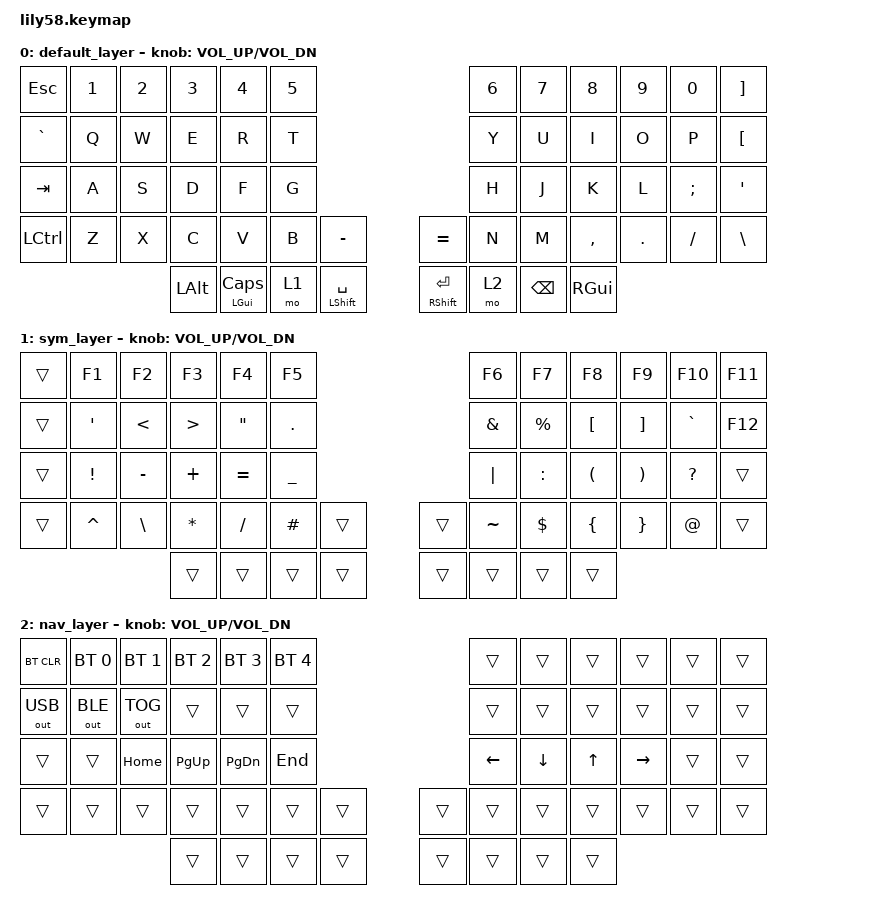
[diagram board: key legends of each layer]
/*
 * Copyright (c) 2020 The ZMK Contributors
 *
 * SPDX-License-Identifier: MIT
 */

#include <behaviors.dtsi>
#include <dt-bindings/zmk/keys.h>
#include <dt-bindings/zmk/bt.h>
#include <dt-bindings/zmk/ext_power.h>
#include <dt-bindings/zmk/outputs.h>


/ {
    keymap {
        compatible = "zmk,keymap";

        default_layer {
/* QWERTY
 * ,-----------------------------------------.                    ,-----------------------------------------.
 * | ESC  |   1  |   2  |   3  |   4  |   5  |                    |   6  |   7  |   8  |   9  |   0  |  ]   |
 * |------+------+------+------+------+------|                    |------+------+------+------+------+------|
 * |   `  |   Q  |   W  |   E  |   R  |   T  |                    |   Y  |   U  |   I  |   O  |   P  |  [   |
 * |------+------+------+------+------+------|                    |------+------+------+------+------+------|
 * |  Tab |   A  |   S  |   D  |   F  |   G  |-------.    ,-------|   H  |   J  |   K  |   L  |   ;  |  '   |
 * |------+------+------+------+------+------|  - _  |    |  = +  |------+------+------+------+------+------|
 * |LCTRL |   Z  |   X  |   C  |   V  |   B  |-------|    |-------|   N  |   M  |   ,  |   .  |   /  |  \   |
 * `-----------------------------------------/       /     \      \-----------------------------------------'
 *                   | LAlt | LGUI | L1   | /Space  /       \Enter \  | L2    |BackSP| RGUI |
 *                   |      | CAPS | (SYM)|/LShift /         \RShift\ | (NAV) |      |      |
 *                   `----------------------------'           '------''--------------------'
 */

            bindings = <
&kp ESC   &kp N1 &kp N2 &kp N3   &kp N4        &kp N5                 /**/                &kp N6 &kp N7   &kp N8    &kp N9  &kp N0    &kp RBKT
&kp GRAVE &kp Q  &kp W  &kp E    &kp R         &kp T                  /**/                &kp Y  &kp U    &kp I     &kp O   &kp P     &kp LBKT
&kp TAB   &kp A  &kp S  &kp D    &kp F         &kp G                  /**/                &kp H  &kp J    &kp K     &kp L   &kp SEMI  &kp SQT
&kp LCTRL &kp Z  &kp X  &kp C    &kp V         &kp B  &kp MINUS       /**/ &kp EQUAL      &kp N  &kp M    &kp COMMA &kp DOT &kp SLASH &kp BSLH
                        &kp LALT &mt LGUI CAPS &mo 1  &mt LSHFT SPACE /**/ &mt RSHIFT RET &mo 2  &kp BSPC &kp RGUI
            >;

            sensor-bindings = <&inc_dec_kp C_VOL_UP C_VOL_DN>;
        };

        sym_layer {
/* SYM
 * ,-----------------------------------------.                    ,-----------------------------------------.
 * |      |  F1  |  F2  |  F3  |  F4  |  F5  |                    |  F6  |  F7  |  F8  |  F9  | F10  | F11  |
 * |------+------+------+------+------+------|                    |------+------+------+------+------+------|
 * |      |   '  |   <  |   >  |   "  |   .  |                    |   &  |   %  |   [  |   ]  |   `  | F12  |
 * |------+------+------+------+------+------|                    |------+------+------+------+------+------|
 * |      |   !  |   -  |   +  |   =  |   _  |-------.    ,-------|   |  |   :  |   (  |   )  |   ?  |      |
 * |------+------+------+------+------+------|       |    |       |------+------+------+------+------+------|
 * |      |   ^  |   \  |   *  |   /  |   #  |-------|    |-------|   ~  |   $  |   {  |   }  |   @  |      |
 * `-----------------------------------------/       /     \      \-----------------------------------------'
 *                   |      |      |      | /       /       \      \  |      |      |      |
 *                   |      |      |      |/       /         \      \ |      |      |      |
 *                   `----------------------------'           '------''--------------------'
 */
            bindings = <
&trans &kp F1    &kp F2        &kp F3           &kp F4            &kp F5                /**/                      &kp F6        &kp F7         &kp F8               &kp F9                &kp F10      &kp F11
&trans &kp SQT   &kp LESS_THAN &kp GREATER_THAN &kp DOUBLE_QUOTES &kp PERIOD            /**/                      &kp AMPERSAND &kp PERCENT    &kp LEFT_BRACKET     &kp RIGHT_BRACKET     &kp GRAVE    &kp F12
&trans &kp EXCL  &kp MINUS     &kp PLUS         &kp EQUAL         &kp UNDERSCORE        /**/                      &kp PIPE      &kp COLON      &kp LEFT_PARENTHESIS &kp RIGHT_PARENTHESIS &kp QUESTION &trans
&trans &kp CARET &kp BACKSLASH &kp ASTERISK     &kp SLASH         &kp HASH       &trans /**/ &trans &kp TILDE     &kp DOLLAR    &kp LEFT_BRACE &kp RIGHT_BRACE      &kp AT_SIGN           &trans
                               &trans           &trans            &trans         &trans /**/ &trans &trans        &trans        &trans
            >;

            sensor-bindings = <&inc_dec_kp C_VOL_UP C_VOL_DN>;
        };

        nav_layer {
/* NAV
 * ,-----------------------------------------.                    ,-----------------------------------------.
 * | BTCLR| BT0  | BT1  | BT2  | BT3  | BT4  |                    |      |      |      |      |      |      |
 * |------+------+------+------+------+------|                    |------+------+------+------+------+------|
 * | OUTBT|OUTUSB|OUTTOG|      |      |      |                    |      |      |      |      |      |      |
 * |------+------+------+------+------+------|                    |------+------+------+------+------+------|
 * |      |      | HOME | PGUP | PGDN | END  |-------.    ,-------| Left | Down |  Up  |Right |      |      |
 * |------+------+------+------+------+------|       |    |       |------+------+------+------+------+------|
 * |      |      |      |      |      |      |-------|    |-------|      |      |      |      |      |      |
 * `-----------------------------------------/       /     \      \-----------------------------------------'
 *                   |      |      |      | /       /       \      \  |      |      |      |
 *                   |      |      |      |/       /         \      \ |      |      |      |
 *                   `----------------------------'           '------''--------------------'
 */
            bindings = <
&bt BT_CLR   &bt BT_SEL 0 &bt BT_SEL 1 &bt BT_SEL 2 &bt BT_SEL 3  &bt BT_SEL 4          /**/          &trans   &trans    &trans   &trans    &trans  &trans
&out OUT_USB &out OUT_BLE &out OUT_TOG &trans       &trans        &trans                /**/          &trans   &trans    &trans   &trans    &trans  &trans
&trans       &trans       &kp HOME     &kp PAGE_UP  &kp PAGE_DOWN &kp END               /**/          &kp LEFT &kp DOWN  &kp UP   &kp RIGHT &trans  &trans
&trans       &trans       &trans       &trans       &trans        &trans       &trans   /**/ &trans   &trans   &trans    &trans   &trans    &trans  &trans
                                       &trans       &trans        &trans       &trans   /**/ &trans   &trans    &trans   &trans
            >;

            sensor-bindings = <&inc_dec_kp C_VOL_UP C_VOL_DN>;
        };
    };
};
